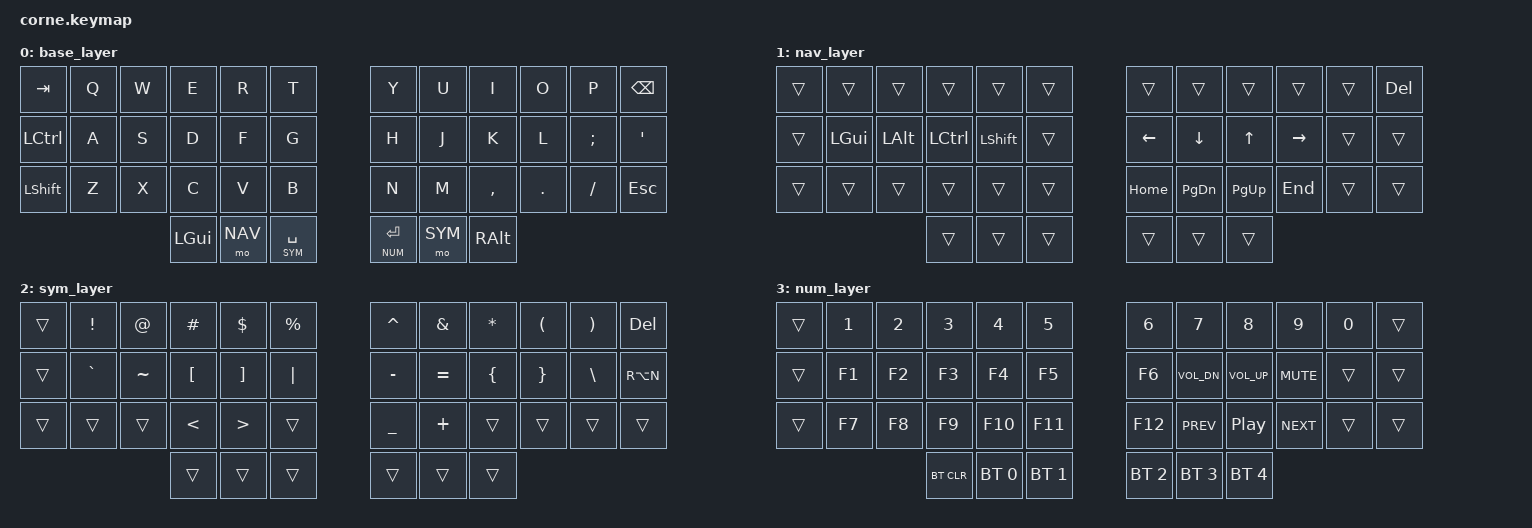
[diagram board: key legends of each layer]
/*
 * Corne Keymap
 * 4 Layers: Base, Navigation, Symbols, Numbers+Media+BT
 */

#include <behaviors.dtsi>
#include <dt-bindings/zmk/keys.h>
#include <dt-bindings/zmk/bt.h>
#include <dt-bindings/zmk/rgb.h>

#define BASE 0
#define NAV  1
#define SYM  2
#define NUM  3

/ {
    keymap {
        compatible = "zmk,keymap";

        // Layer 0: Base (QWERTY)
        base_layer {
            bindings = <
                &kp TAB    &kp Q  &kp W  &kp E  &kp R  &kp T      &kp Y  &kp U  &kp I      &kp O    &kp P     &kp BSPC
                &kp LCTRL  &kp A  &kp S  &kp D  &kp F  &kp G      &kp H  &kp J  &kp K      &kp L    &kp SEMI  &kp SQT
                &kp LSHFT  &kp Z  &kp X  &kp C  &kp V  &kp B      &kp N  &kp M  &kp COMMA  &kp DOT  &kp FSLH  &kp ESC
                              &kp LGUI  &mo NAV  &lt SYM SPACE    &lt NUM RET  &mo SYM  &kp RALT
            >;
        };

        // Layer 1: Navigation (Vim style HJKL)
        nav_layer {
            bindings = <
                &trans  &trans    &trans    &trans     &trans     &trans       &trans    &trans    &trans  &trans     &trans  &kp DEL
                &trans  &kp LGUI  &kp LALT  &kp LCTRL  &kp LSHFT  &trans       &kp LEFT  &kp DOWN  &kp UP  &kp RIGHT  &trans  &trans
                &trans  &trans    &trans    &trans     &trans     &trans       &kp HOME  &kp PG_DN &kp PG_UP &kp END  &trans  &trans
                                            &trans     &trans     &trans       &trans    &trans    &trans
            >;
        };

        // Layer 2: Symbols
        sym_layer {
            bindings = <
                &trans  &kp EXCL  &kp AT    &kp HASH  &kp DLLR  &kp PRCNT    &kp CARET  &kp AMPS  &kp ASTRK  &kp LPAR  &kp RPAR  &kp DEL
                &trans  &kp GRAVE &kp TILDE &kp LBKT  &kp RBKT  &kp PIPE     &kp MINUS  &kp EQUAL &kp LBRC   &kp RBRC  &kp BSLH  &kp RA(N)
                &trans  &trans    &trans    &kp LT    &kp GT    &trans       &kp UNDER  &kp PLUS  &trans     &trans    &trans    &trans
                                            &trans    &trans    &trans       &trans     &trans    &trans
            >;
        };

        // Layer 3: Numbers + Media + Bluetooth
        num_layer {
            bindings = <
                &trans  &kp N1  &kp N2  &kp N3  &kp N4  &kp N5       &kp N6      &kp N7        &kp N8        &kp N9  &kp N0  &trans
                &trans  &kp F1  &kp F2  &kp F3  &kp F4  &kp F5       &kp F6      &kp C_VOL_DN  &kp C_VOL_UP  &kp C_MUTE  &trans  &trans
                &trans  &kp F7  &kp F8  &kp F9  &kp F10 &kp F11      &kp F12     &kp C_PREV    &kp C_PP      &kp C_NEXT  &trans  &trans
                                        &bt BT_CLR  &bt BT_SEL 0  &bt BT_SEL 1   &bt BT_SEL 2  &bt BT_SEL 3  &bt BT_SEL 4
            >;
        };
    };
};
